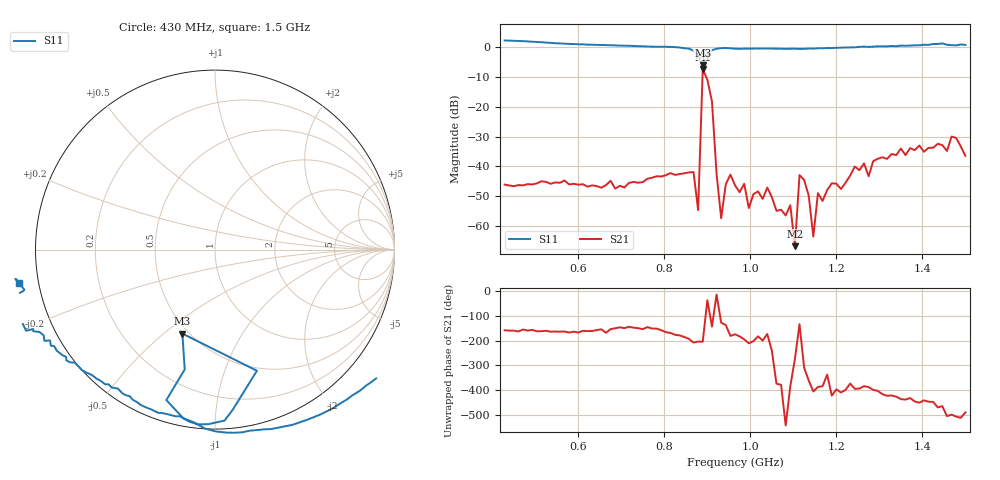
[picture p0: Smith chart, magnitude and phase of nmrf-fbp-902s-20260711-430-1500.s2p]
# HZ S RI R 50
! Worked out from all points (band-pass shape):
!   101 points, 430 MHz to 1.5 GHz, reference 50 ohm
!   highest |S21| = -7.29 dB at 890.1 MHz (marker M1); lowest = -66.9 dB at 1.104 GHz (marker M2)
!   |S21| within 3 dB of the highest: 889.4 MHz to 899.1 MHz (9.658 MHz wide, 1.08 % of centre)
!   lowest |S11| = -6.0 dB at 890.1 MHz (marker M3), VSWR 3.02, Z = 23.1 - j29 ohm
!   |S11| at or under -10 dB: nowhere
!   S12 and S22 are empty: the file has one direction only
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4.3e8  1.301 -0.1698  -0.00456 -0.00179  0 0  0 0
6.119e8  0.8063 -0.7872  -0.00468 -0.00164  0 0  0 0
7.938e8  0.1547 -1.017  -0.00623 -0.00248  0 0  0 0
8.687e8  -0.2712 -0.8383  -0.00701 0.00375  0 0  0 0
8.794e8  -0.1687 -0.6676  -0.00166 0.000745  0 0  0 0
8.901e8  -0.1818 -0.468  -0.3931 0.1798  0 0  0 0
9.008e8  0.2336 -0.6749  0.2285 -0.1728  0 0  0 0
9.115e8  0.0974 -0.8944  -0.0994 -0.073  0 0  0 0
9.329e8  -0.0364 -0.9725  -0.000819 -0.00105  0 0  0 0
9.436e8  -0.0922 -0.9739  -0.00365 -0.00336  0 0  0 0
9.65e8  -0.1859 -0.9338  -0.00475 -0.000442  0 0  0 0
9.971e8  -0.259 -0.9185  -0.00169 0.00102  0 0  0 0
1.0399e9  -0.3829 -0.8797  -0.00434 -0.000482  0 0  0 0
1.0934e9  -0.4964 -0.8113  0.00201 -0.000916  0 0  0 0
1.1041e9  -0.5171 -0.8  3.92e-05 0.000448  0 0  0 0
1.1148e9  -0.5398 -0.775  -0.00494 -0.00509  0 0  0 0
1.1362e9  -0.576 -0.7683  0.00319 -9.13e-05  0 0  0 0
1.1469e9  -0.5925 -0.751  0.000456 -0.000467  0 0  0 0
1.1576e9  -0.6122 -0.7498  0.00312 -0.00162  0 0  0 0
1.3288e9  -0.9143 -0.5351  0.00762 -0.0141  0 0  0 0
1.4679e9  -1.07 -0.2318  -0.0239 -0.0207  0 0  0 0
1.5e9  -1.09 -0.1833  -0.0096 -0.0114  0 0  0 0
